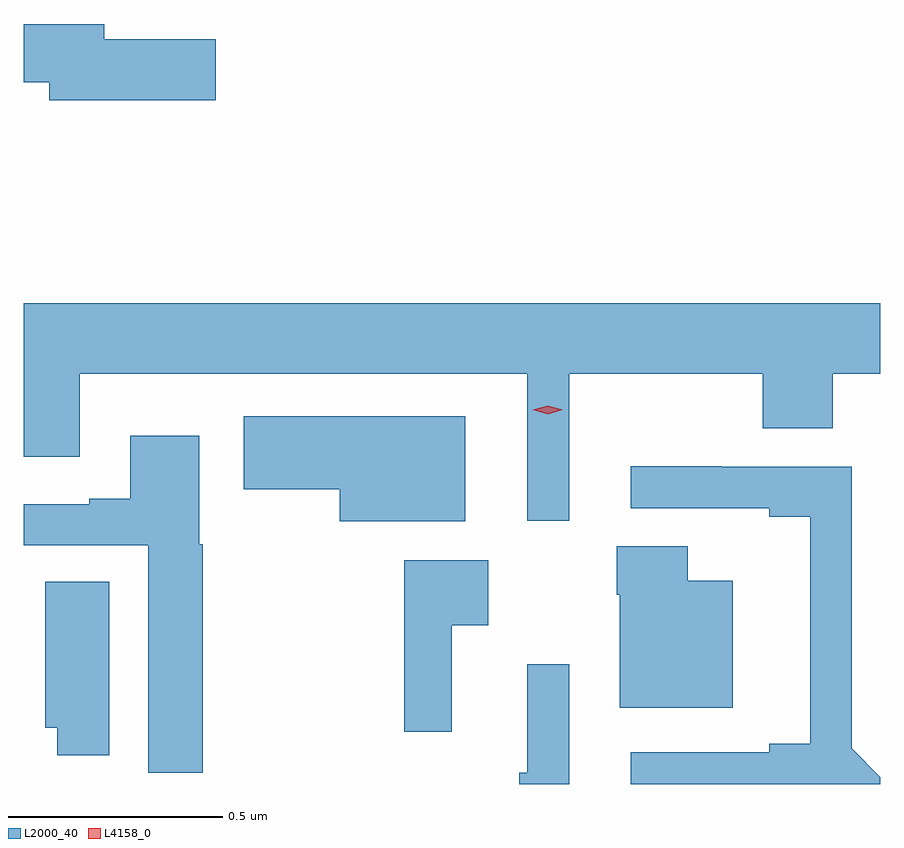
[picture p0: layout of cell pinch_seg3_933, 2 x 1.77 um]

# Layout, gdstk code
import gdstk
lib = gdstk.Library(unit=1e-6, precision=1e-09)
def P(c, l, *ps):  # polygons
    for p in ps: c.add(gdstk.Polygon(p, *l))
L2000_40 = (2000, 40)
L4158_0 = (4158, 0)

pinch_seg3_933 = lib.new_cell('pinch_seg3_933')
P(pinch_seg3_933, L2000_40, [(772.237,687.044),(771.976,687.044),(771.976,687.08),(771.788,687.08),(771.788,686.944),(771.848,686.944),(771.848,686.902),(772.237,686.902)],
  [(773.062,686.264),(773.513,686.264),(773.513,686.136),(773.677,686.136),(773.677,686.264),(773.788,686.264),(773.788,686.428),(771.788,686.428),(771.788,686.07),(771.919,686.07),(771.919,686.264),(772.964,686.264),(772.964,685.92),(773.062,685.92)],
  [(772.819,686.164),(772.302,686.164),(772.302,685.994),(772.526,685.994),(772.526,685.919),(772.819,685.919)],
  [(772.206,685.866),(772.198,685.866),(772.198,686.119),(772.037,686.119),(772.037,685.972),(771.941,685.972),(771.941,685.959),(771.788,685.959),(771.788,685.863),(772.079,685.863),(772.079,685.332),(772.206,685.332)],
  [(773.788,685.322),(773.721,685.389),(773.721,686.046),(773.417,686.046),(773.417,686.048),(773.205,686.048),(773.205,685.95),(773.528,685.95),(773.528,685.93),(773.624,685.93),(773.624,685.4),(773.528,685.4),(773.528,685.38),(773.205,685.38),(773.205,685.306),(773.788,685.306)],
  [(773.443,685.78),(773.338,685.78),(773.338,685.861),(773.173,685.861),(773.173,685.748),(773.18,685.748),(773.18,685.484),(773.443,685.484)],
  [(772.787,685.676),(772.873,685.676),(772.873,685.828),(772.677,685.828),(772.677,685.428),(772.787,685.428)],
  [(771.988,685.778),(771.839,685.778),(771.839,685.437),(771.866,685.437),(771.866,685.373),(771.988,685.373)],
  [(773.062,685.585),(772.964,685.585),(772.964,685.332),(772.945,685.332),(772.945,685.306),(773.062,685.306)])
P(pinch_seg3_933, L4158_0, [(773.012,686.169),(772.977,686.179),(772.977,686.179),(772.977,686.18),(773.012,686.189),(773.047,686.18),(773.047,686.179),(773.047,686.179)])

lib.write_gds('pinch_seg3_933.gds')
